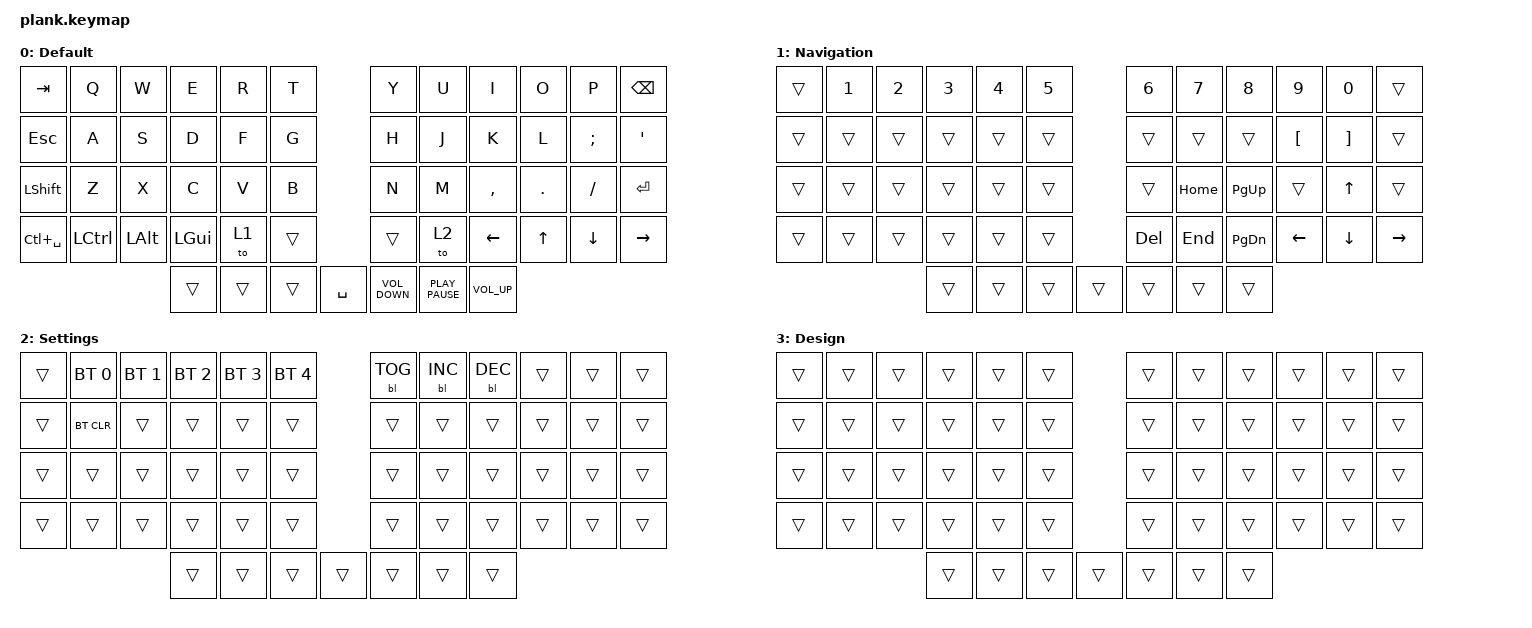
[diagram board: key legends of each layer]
#include <behaviors.dtsi>
#include <dt-bindings/zmk/backlight.h>
#include <dt-bindings/zmk/bt.h>
#include <dt-bindings/zmk/keys.h>

&led_strip {
    chain-length = <49>;

    // chain-length = <49>;
    // 49 backlight
};

/ {
    conditional_layers {
        compatible = "zmk,conditional-layers";

        Activate_EXT {
            if-layers = <1 2>;
            then-layer = <3>;
        };
    };

    combos {
        compatible = "zmk,combos";

        Clear_BLE_Profile {
            bindings = <&bt BT_CLR>;
            key-positions = <0 38 5>;
        };

        Space {
            bindings = <&kp SPACE>;
            key-positions = <29 28>;
        };

        Enter {
            bindings = <&kp ENTER>;
            key-positions = <17 16>;
        };

        Capslock {
            bindings = <&kp CLCK>;
            key-positions = <5 6>;
        };
    };

    macros {
        git_status: git_status {
            compatible = "zmk,behavior-macro";
            #binding-cells = <0>;
            bindings = <&kp G &kp I &kp T &kp SPACE &kp S &kp T &kp A &kp T &kp U &kp S>;
            label = "GIT_STATUS";
        };

        git_commit_all: git_commit_all {
            compatible = "zmk,behavior-macro";
            #binding-cells = <0>;
            bindings = <&kp G &kp I &kp T &kp SPACE &kp C &kp O &kp M &kp M &kp I &kp T &kp SPACE &kp MINUS &kp A &kp MINUS &kp M &kp SPACE &kp DQT &kp DQT &kp LEFT_ARROW>;
            label = "GIT_COMMIT";
        };
    };

    keymap {
        compatible = "zmk,keymap";
        display-name = "Plank";

        base {
            bindings = <
&kp TAB        &kp Q      &kp W     &kp E     &kp R   &kp T                  &kp Y              &kp U             &kp I            &kp O    &kp P     &kp BSPC
&kp ESC        &kp A      &kp S     &kp D     &kp F   &kp G                  &kp H              &kp J             &kp K            &kp L    &kp SEMI  &kp APOS
&kp LSHFT      &kp Z      &kp X     &kp C     &kp V   &kp B                  &kp N              &kp M             &kp COMMA        &kp DOT  &kp FSLH  &kp ENTER
&kp LC(SPACE)  &kp LCTRL  &kp LALT  &kp LGUI  &to 1   &trans                 &trans             &to 2             &kp LEFT         &kp UP   &kp DOWN  &kp RIGHT
                                    &trans    &trans  &trans    &kp SPACE    &kp C_VOLUME_DOWN  &kp K_PLAY_PAUSE  &kp C_VOLUME_UP
            >;

            label = "Default";
        };

        nav {
            bindings = <
&trans  &kp N1  &kp N2  &kp N3  &kp N4  &kp N5              &kp N6   &kp N7    &kp N8     &kp N9    &kp N0    &trans
&trans  &trans  &trans  &trans  &trans  &trans              &trans   &trans    &trans     &kp LBKT  &kp RBKT  &trans
&trans  &trans  &trans  &trans  &trans  &trans              &trans   &kp HOME  &kp PG_UP  &trans    &kp UP    &trans
&trans  &trans  &trans  &trans  &trans  &trans              &kp DEL  &kp END   &kp PG_DN  &kp LEFT  &kp DOWN  &kp RIGHT
                        &trans  &trans  &trans    &trans    &trans   &trans    &trans
            >;

            label = "Navigation";
        };

        settings {
            bindings = <
&trans  &bt BT_SEL 0  &bt BT_SEL 1  &bt BT_SEL 2  &bt BT_SEL 3  &bt BT_SEL 4              &bl BL_TOG  &bl BL_INC  &bl BL_DEC  &trans  &trans  &trans
&trans  &bt BT_CLR    &trans        &trans        &trans        &trans                    &trans      &trans      &trans      &trans  &trans  &trans
&trans  &trans        &trans        &trans        &trans        &trans                    &trans      &trans      &trans      &trans  &trans  &trans
&trans  &trans        &trans        &trans        &trans        &trans                    &trans      &trans      &trans      &trans  &trans  &trans
                                    &trans        &trans        &trans          &trans    &trans      &trans      &trans
            >;

            label = "Settings";
        };

        design {
            bindings = <
&trans  &trans  &trans  &trans  &trans  &trans              &trans  &trans  &trans  &trans  &trans  &trans
&trans  &trans  &trans  &trans  &trans  &trans              &trans  &trans  &trans  &trans  &trans  &trans
&trans  &trans  &trans  &trans  &trans  &trans              &trans  &trans  &trans  &trans  &trans  &trans
&trans  &trans  &trans  &trans  &trans  &trans              &trans  &trans  &trans  &trans  &trans  &trans
                        &trans  &trans  &trans    &trans    &trans  &trans  &trans
            >;

            label = "Design";
        };
    };
};
